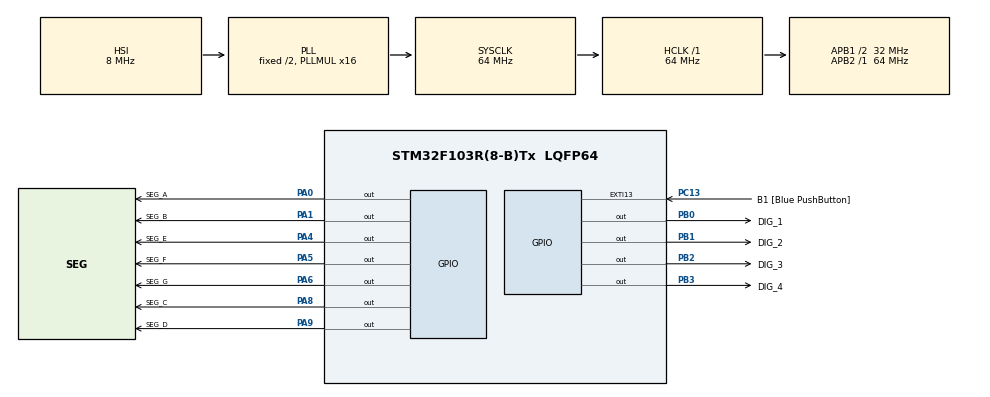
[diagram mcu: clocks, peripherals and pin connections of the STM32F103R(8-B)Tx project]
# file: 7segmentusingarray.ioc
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Mcu.Family=STM32F1
Mcu.Name=STM32F103R(8-B)Tx
Mcu.Package=LQFP64
NVIC.EXTI15_10_IRQn=true\:0\:0\:false\:false\:true\:true\:true\:true
NVIC.PriorityGroup=NVIC_PRIORITYGROUP_4
PA0-WKUP.GPIO_Label=SEG_A
PA0-WKUP.Signal=GPIO_Output
PA1.GPIO_Label=SEG_B
PA1.Signal=GPIO_Output
PA10.Signal=USART1_RX
PA13.GPIO_Label=TMS
PA13.Mode=Serial_Wire
PA13.Signal=SYS_JTMS-SWDIO
PA14.GPIO_Label=TCK
PA14.Mode=Serial_Wire
PA14.Signal=SYS_JTCK-SWCLK
PA2.Signal=USART2_TX
PA3.Signal=USART2_RX
PA4.GPIO_Label=SEG_E
PA4.Signal=GPIO_Output
PA5.GPIO_Label=SEG_F
PA5.GPIO_ModeDefaultOutputPP=GPIO_MODE_OUTPUT_PP
PA5.GPIO_PuPd=GPIO_NOPULL
PA5.GPIO_Speed=GPIO_SPEED_FREQ_LOW
PA5.Signal=GPIO_Output
PA6.GPIO_Label=SEG_G
PA6.Signal=GPIO_Output
PA8.GPIO_Label=SEG_C
PA8.Signal=GPIO_Output
PA9.GPIO_Label=SEG_D
PA9.Signal=GPIO_Output
PB0.GPIO_Label=DIG_1
PB0.Signal=GPIO_Output
PB1.GPIO_Label=DIG_2
PB1.Signal=GPIO_Output
PB2.GPIO_Label=DIG_3
PB2.Signal=GPIO_Output
PB3.GPIO_Label=DIG_4
PB3.Signal=GPIO_Output
PC13-TAMPER-RTC.GPIO_Label=B1 [Blue PushButton]
PC13-TAMPER-RTC.GPIO_PuPd=GPIO_NOPULL
PC13-TAMPER-RTC.Signal=GPXTI13
PC14-OSC32_IN.Mode=LSE-External-Oscillator
PC14-OSC32_IN.Signal=RCC_OSC32_IN
PC15-OSC32_OUT.Mode=LSE-External-Oscillator
PC15-OSC32_OUT.Signal=RCC_OSC32_OUT
PD0-OSC_IN.Mode=HSE-External-Clock-Source
PD0-OSC_IN.Signal=RCC_OSC_IN
PD1-OSC_OUT.Mode=HSE-External-Clock-Source
PD1-OSC_OUT.Signal=RCC_OSC_OUT
ProjectManager.HeapSize=0x200
ProjectManager.StackSize=0x400
ProjectManager.TargetToolchain=STM32CubeIDE
RCC.AHBFreq_Value=64000000
RCC.APB1CLKDivider=RCC_HCLK_DIV2
RCC.APB1Freq_Value=32000000
RCC.APB1TimFreq_Value=64000000
RCC.APB2Freq_Value=64000000
RCC.APB2TimFreq_Value=64000000
RCC.HCLKFreq_Value=64000000
RCC.PLLMUL=RCC_PLL_MUL16
RCC.RTCClockSelection=RCC_RTCCLKSOURCE_LSE
RCC.SYSCLKFreq_VALUE=64000000
RCC.SYSCLKSource=RCC_SYSCLKSOURCE_PLLCLK
RCC.USBFreq_Value=64000000
board=NUCLEO-F103RB

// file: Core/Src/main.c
/* USER CODE BEGIN Header */
/**
  ******************************************************************************
  * @file           : main.c
  * @brief          : Main program body
  ******************************************************************************
  * @attention
  *
  * Copyright (c) 2026 STMicroelectronics.
  * All rights reserved.
  *
  * This software is licensed under terms that can be found in the LICENSE file
  * in the root directory of this software component.
  * If no LICENSE file comes with this software, it is provided AS-IS.
  *
  ******************************************************************************
  */
/* USER CODE END Header */
#include "main.h"

/* USER CODE BEGIN PD */
/* USER CODE BEGIN PD */
// Segment Ports and Pins
#define SEG_PORT GPIOA
#define SEG_A SEG_A_Pin  // CubeMX uses the labels you created
#define SEG_B SEG_B_Pin
#define SEG_C SEG_C_Pin
#define SEG_D SEG_D_Pin
#define SEG_E SEG_E_Pin
#define SEG_F SEG_F_Pin
#define SEG_G SEG_G_Pin

// Digit Select Ports and Pins
#define DIG_PORT GPIOB
#define DIG_1 DIG_1_Pin
#define DIG_2 DIG_2_Pin
#define DIG_3 DIG_3_Pin
#define DIG_4 DIG_4_Pin
/* USER CODE END PD */

/* USER CODE BEGIN PV */
const uint8_t numMap[10] = {
    0x3F, 0x06, 0x5B, 0x4F, 0x66, 0x6D, 0x7D, 0x07, 0x7F, 0x6F
};
/* USER CODE END PV */

void SystemClock_Config(void);
static void MX_GPIO_Init(void);
/* USER CODE BEGIN PFP */
/* USER CODE BEGIN PFP */
void Display_Digit(uint8_t number);
/* USER CODE END PFP */

int main(void)
{

  /* MCU Configuration--------------------------------------------------------*/

  /* Reset of all peripherals, Initializes the Flash interface and the Systick. */
  HAL_Init();

  /* Configure the system clock */
  SystemClock_Config();

  /* Initialize all configured peripherals */
  MX_GPIO_Init();
  /* USER CODE BEGIN 2 */
  /* USER CODE BEGIN 2 */
    // Turn OFF all digits initially (Assuming Common Cathode)
    HAL_GPIO_WritePin(DIG_PORT, DIG_1 | DIG_2 | DIG_3 | DIG_4, GPIO_PIN_SET);

    // Turn ON only Digit 1
    HAL_GPIO_WritePin(DIG_PORT, DIG_1, GPIO_PIN_RESET);

    int current_number = 0;
  /* USER CODE END 2 */

  /* Infinite loop */
  /* USER CODE BEGIN WHILE */
    while (1)
    {
        Display_Digit(current_number);
        HAL_Delay(1000);

        current_number++;
        if (current_number > 9) current_number = 0;

    /* USER CODE END WHILE */

    }
}

void SystemClock_Config(void)
{
  RCC_OscInitTypeDef RCC_OscInitStruct = {0};
  RCC_ClkInitTypeDef RCC_ClkInitStruct = {0};

  /** Initializes the RCC Oscillators according to the specified parameters
  * in the RCC_OscInitTypeDef structure.
  */
  RCC_OscInitStruct.OscillatorType = RCC_OSCILLATORTYPE_HSI;
  RCC_OscInitStruct.HSIState = RCC_HSI_ON;
  RCC_OscInitStruct.HSICalibrationValue = RCC_HSICALIBRATION_DEFAULT;
  RCC_OscInitStruct.PLL.PLLState = RCC_PLL_ON;
  RCC_OscInitStruct.PLL.PLLSource = RCC_PLLSOURCE_HSI_DIV2;
  RCC_OscInitStruct.PLL.PLLMUL = RCC_PLL_MUL16;
  if (HAL_RCC_OscConfig(&RCC_OscInitStruct) != HAL_OK)
  {
    Error_Handler();
  }

  /** Initializes the CPU, AHB and APB buses clocks
  */
  RCC_ClkInitStruct.ClockType = RCC_CLOCKTYPE_HCLK|RCC_CLOCKTYPE_SYSCLK
                              |RCC_CLOCKTYPE_PCLK1|RCC_CLOCKTYPE_PCLK2;
  RCC_ClkInitStruct.SYSCLKSource = RCC_SYSCLKSOURCE_PLLCLK;
  RCC_ClkInitStruct.AHBCLKDivider = RCC_SYSCLK_DIV1;
  RCC_ClkInitStruct.APB1CLKDivider = RCC_HCLK_DIV2;
  RCC_ClkInitStruct.APB2CLKDivider = RCC_HCLK_DIV1;

  if (HAL_RCC_ClockConfig(&RCC_ClkInitStruct, FLASH_LATENCY_2) != HAL_OK)
  {
    Error_Handler();
  }
}

static void MX_GPIO_Init(void)
{
  GPIO_InitTypeDef GPIO_InitStruct = {0};

  /* GPIO Ports Clock Enable */
  __HAL_RCC_GPIOC_CLK_ENABLE();
  __HAL_RCC_GPIOD_CLK_ENABLE();
  __HAL_RCC_GPIOA_CLK_ENABLE();
  __HAL_RCC_GPIOB_CLK_ENABLE();

  /*Configure GPIO pin Output Level */
  HAL_GPIO_WritePin(GPIOA, SEG_A_Pin|SEG_B_Pin|SEG_E_Pin|SEG_F_Pin
                          |SEG_G_Pin|SEG_C_Pin|SEG_D_Pin, GPIO_PIN_RESET);

  /*Configure GPIO pin Output Level */
  HAL_GPIO_WritePin(GPIOB, DIG_1_Pin|DIG_2_Pin|DIG_3_Pin|DIG_4_Pin, GPIO_PIN_RESET);

  /*Configure GPIO pin : B1_Pin */
  GPIO_InitStruct.Pin = B1_Pin;
  GPIO_InitStruct.Mode = GPIO_MODE_IT_RISING;
  GPIO_InitStruct.Pull = GPIO_NOPULL;
  HAL_GPIO_Init(B1_GPIO_Port, &GPIO_InitStruct);

  /*Configure GPIO pins : SEG_A_Pin SEG_B_Pin SEG_E_Pin SEG_F_Pin
                           SEG_G_Pin SEG_C_Pin SEG_D_Pin */
  GPIO_InitStruct.Pin = SEG_A_Pin|SEG_B_Pin|SEG_E_Pin|SEG_F_Pin
                          |SEG_G_Pin|SEG_C_Pin|SEG_D_Pin;
  GPIO_InitStruct.Mode = GPIO_MODE_OUTPUT_PP;
  GPIO_InitStruct.Pull = GPIO_NOPULL;
  GPIO_InitStruct.Speed = GPIO_SPEED_FREQ_LOW;
  HAL_GPIO_Init(GPIOA, &GPIO_InitStruct);

  /*Configure GPIO pin : PA2 */
  GPIO_InitStruct.Pin = GPIO_PIN_2;
  GPIO_InitStruct.Mode = GPIO_MODE_AF_PP;
  GPIO_InitStruct.Speed = GPIO_SPEED_FREQ_HIGH;
  HAL_GPIO_Init(GPIOA, &GPIO_InitStruct);

  /*Configure GPIO pins : PA3 PA10 */
  GPIO_InitStruct.Pin = GPIO_PIN_3|GPIO_PIN_10;
  GPIO_InitStruct.Mode = GPIO_MODE_INPUT;
  GPIO_InitStruct.Pull = GPIO_NOPULL;
  HAL_GPIO_Init(GPIOA, &GPIO_InitStruct);

  /*Configure GPIO pins : DIG_1_Pin DIG_2_Pin DIG_3_Pin DIG_4_Pin */
  GPIO_InitStruct.Pin = DIG_1_Pin|DIG_2_Pin|DIG_3_Pin|DIG_4_Pin;
  GPIO_InitStruct.Mode = GPIO_MODE_OUTPUT_PP;
  GPIO_InitStruct.Pull = GPIO_NOPULL;
  GPIO_InitStruct.Speed = GPIO_SPEED_FREQ_LOW;
  HAL_GPIO_Init(GPIOB, &GPIO_InitStruct);

  /* EXTI interrupt init*/
  HAL_NVIC_SetPriority(EXTI15_10_IRQn, 0, 0);
  HAL_NVIC_EnableIRQ(EXTI15_10_IRQn);

}

/* USER CODE BEGIN 4 */
/* USER CODE BEGIN 4 */
void Display_Digit(uint8_t number)
{
    uint8_t pattern = numMap[number];

    HAL_GPIO_WritePin(SEG_PORT, SEG_A, (pattern & 0x01) ? GPIO_PIN_SET : GPIO_PIN_RESET);
    HAL_GPIO_WritePin(SEG_PORT, SEG_B, (pattern & 0x02) ? GPIO_PIN_SET : GPIO_PIN_RESET);
    HAL_GPIO_WritePin(SEG_PORT, SEG_C, (pattern & 0x04) ? GPIO_PIN_SET : GPIO_PIN_RESET);
    HAL_GPIO_WritePin(SEG_PORT, SEG_D, (pattern & 0x08) ? GPIO_PIN_SET : GPIO_PIN_RESET);
    HAL_GPIO_WritePin(SEG_PORT, SEG_E, (pattern & 0x10) ? GPIO_PIN_SET : GPIO_PIN_RESET);
    HAL_GPIO_WritePin(SEG_PORT, SEG_F, (pattern & 0x20) ? GPIO_PIN_SET : GPIO_PIN_RESET);
    HAL_GPIO_WritePin(SEG_PORT, SEG_G, (pattern & 0x40) ? GPIO_PIN_SET : GPIO_PIN_RESET);
}
/* USER CODE END 4 */

void Error_Handler(void)
{
  __disable_irq();
  while (1)
  {
  }
}
